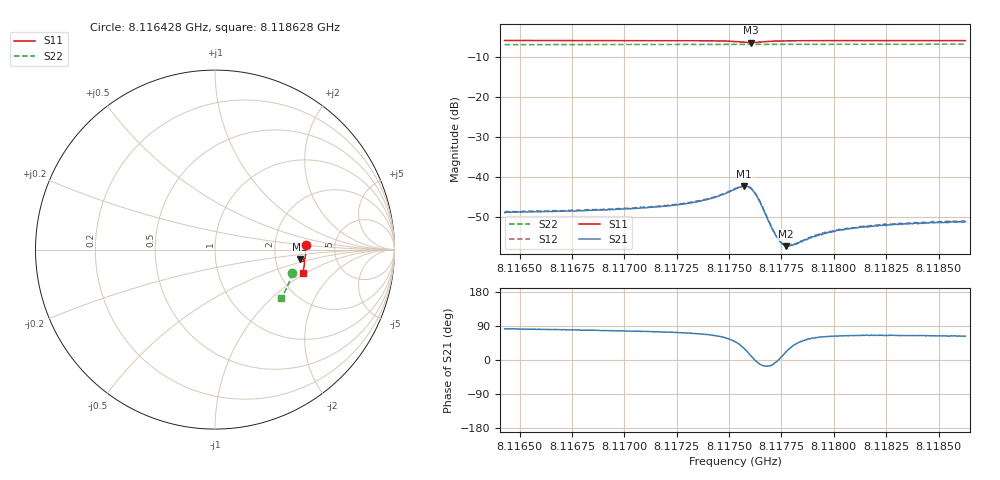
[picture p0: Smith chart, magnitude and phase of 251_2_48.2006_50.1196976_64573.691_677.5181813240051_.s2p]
#  HZ  S  RI  R  50.00
! Rohde & Schwarz Vector Network Analyzer
! Rohde-Schwarz,ZNB20-2Port,1311601062101988,3.16
! Created: UTC 3/20/2024, 11:47:16 AM
! freq[Hz]  re:S11  im:S11  re:S21  im:S21  re:S12  im:S12  re:S22  im:S22
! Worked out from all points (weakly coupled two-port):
!   401 points, 8.116428 GHz to 8.118628 GHz, reference 50 ohm
!   highest |S21| = -42.38 dB at 8.117572 GHz (marker M1); lowest = -57.4 dB at 8.11777 GHz (marker M2)
!   lowest |S11| = -6.4 dB at 8.117605 GHz (marker M3), VSWR 2.82, Z = 138 - j19.6 ohm
!   |S11| at or under -10 dB: nowhere
!   |S22| runs from -6.9 to -6.8 dB; largest |S21 - S12| = 0.00021
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8.1164285e9  0.5062 0.0263  0.000469 0.00351  0.000541 0.00359  0.43 -0.1308
8.116797e9  0.5062 -0.00177  0.000718 0.00367  0.000774 0.00375  0.4228 -0.1554
8.1171654e9  0.5045 -0.031  0.00113 0.00404  0.00123 0.00413  0.4142 -0.1796
8.1173579e9  0.5012 -0.0481  0.00177 0.00459  0.00184 0.00465  0.4092 -0.1921
8.1174404e9  0.4979 -0.0566  0.0025 0.00502  0.00256 0.0051  0.4064 -0.1975
8.1175284e9  0.4877 -0.0655  0.00464 0.00523  0.00478 0.00528  0.4036 -0.2032
8.1175724e9  0.4775 -0.0637  0.00656 0.00384  0.00671 0.00387  0.4021 -0.2056
8.1175889e9  0.4745 -0.06  0.00703 0.00267  0.00716 0.00262  0.4014 -0.2065
8.1176054e9  0.4736 -0.0549  0.00695 0.00131  0.00709 0.00124  0.4009 -0.2072
8.1176219e9  0.4757 -0.0498  0.00629 6.86e-05  0.00642 -4.43e-05  0.4008 -0.2079
8.1176384e9  0.4794 -0.047  0.00529 -0.000702  0.00537 -0.00078  0.4005 -0.2088
8.1176989e9  0.4926 -0.0497  0.00235 -0.000618  0.00242 -0.000661  0.3993 -0.2127
8.1177264e9  0.4954 -0.0534  0.00178 -0.000148  0.00178 -0.000154  0.3986 -0.2146
8.1177484e9  0.4969 -0.0564  0.00147 0.000188  0.00149 0.000206  0.3979 -0.216
8.1177704e9  0.4977 -0.0592  0.00127 0.000459  0.00131 0.000512  0.3973 -0.2175
8.1178144e9  0.4985 -0.0644  0.00108 0.000935  0.00108 0.000941  0.396 -0.2204
8.1178969e9  0.4986 -0.0727  0.000929 0.0015  0.00102 0.0015  0.3933 -0.2255
8.1179574e9  0.4982 -0.0783  0.000938 0.00171  0.00101 0.00174  0.3914 -0.2293
8.1180234e9  0.4976 -0.0839  0.000953 0.00192  0.00098 0.00196  0.3892 -0.2336
8.1181389e9  0.496 -0.0933  0.00097 0.00213  0.00103 0.00215  0.3852 -0.2407
8.1182654e9  0.4942 -0.1032  0.00105 0.00227  0.00108 0.0023  0.3809 -0.2484
8.1186284e9  0.4875 -0.1304  0.00125 0.00241  0.00129 0.0025  0.3671 -0.2698
